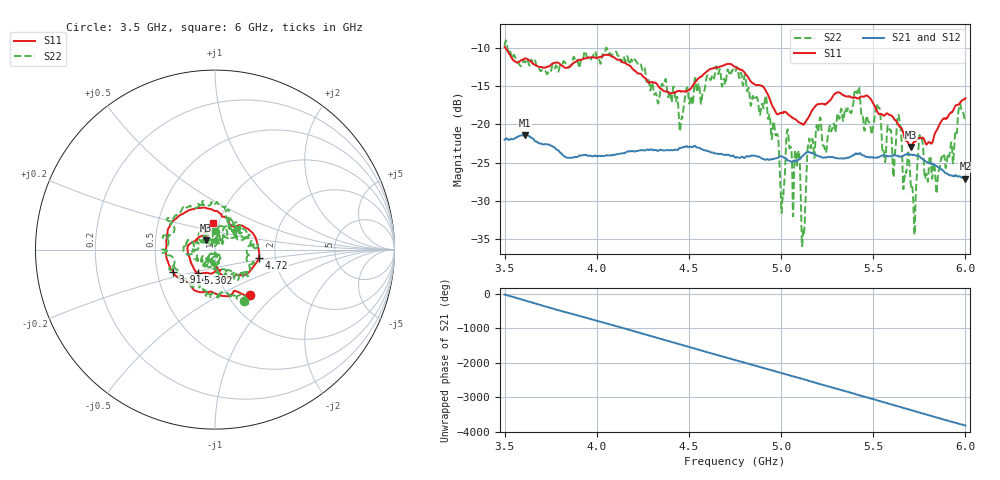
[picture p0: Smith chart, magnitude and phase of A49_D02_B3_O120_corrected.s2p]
! Created with skrf 1.9.0 (http://scikit-rf.org).
# Hz S RI R 50.0
!freq ReS11 ImS11 ReS21 ImS21 ReS12 ImS12 ReS22 ImS22
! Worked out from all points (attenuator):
!   1601 points, 3.5 GHz to 6 GHz, reference 50 ohm
!   highest |S21| = -21.37 dB at 3.611 GHz (marker M1); lowest = -27.1 dB at 6 GHz (marker M2)
!   lowest |S11| = -22.9 dB at 5.703 GHz (marker M3), VSWR 1.15, Z = 45.1 + j4.72 ohm
!   |S11| at or under -10 dB: 3.504 GHz to end of sweep
!   |S22| runs from -35.9 to -9.0 dB; largest |S21 - S12| = 0.00094
!   S11 on the Smith chart (normalised r, x): 3.5 GHz: 1.26, -0.72; 3.914 GHz: 0.61, -0.16; 4.72 GHz: 1.64, -0.16; 5.302 GHz: 0.80, -0.21; 6 GHz: 0.94, +0.28
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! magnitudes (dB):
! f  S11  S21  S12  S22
! 3.5 GHz  -9.9  -22.0  -22.0  -9.7
! 3.611 GHz  -11.4  -21.4  -21.4  -11.9
! 3.914 GHz  -11.6  -24.1  -24.0  -11.6
! 3.917 GHz  -11.5  -24.0  -24.0  -11.4
! 4.334 GHz  -15.0  -23.4  -23.4  -17.2
! 4.456 GHz  -15.7  -23.0  -23.0  -19.7
! 4.72 GHz  -12.1  -24.0  -24.0  -13.6
! 4.75 GHz  -12.5  -24.3  -24.2  -13.1
! 4.925 GHz  -15.9  -24.5  -24.5  -18.1
! 5.006 GHz  -18.5  -24.2  -24.2  -29.9
! 5.037 GHz  -18.7  -24.7  -24.6  -20.9
! 5.089 GHz  -19.6  -24.6  -24.7  -24.5
! 5.12 GHz  -20.0  -24.0  -24.0  -34.0
! 5.167 GHz  -18.2  -23.7  -23.7  -22.0
! 5.302 GHz  -15.8  -24.4  -24.4  -19.5
! 5.412 GHz  -16.6  -23.8  -23.8  -15.9
! 5.584 GHz  -18.7  -24.1  -24.1  -20.3
! 5.703 GHz  -22.9  -24.0  -23.9  -27.6
! 5.72 GHz  -22.3  -24.0  -24.0  -32.0
! 5.756 GHz  -21.8  -24.3  -24.2  -21.9
! 5.848 GHz  -20.6  -25.5  -25.5  -27.4
! 6 GHz  -16.6  -27.1  -27.0  -19.6
